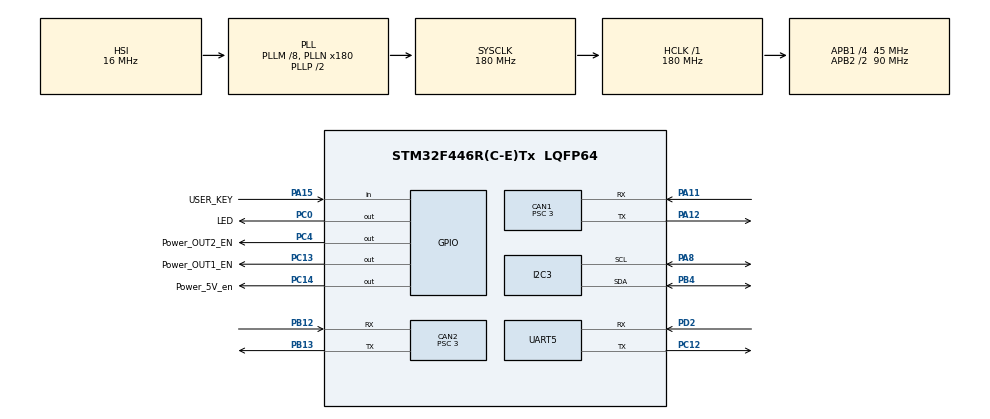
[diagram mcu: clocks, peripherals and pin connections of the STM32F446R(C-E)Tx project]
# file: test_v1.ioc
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CAN1.ABOM=ENABLE
CAN1.BS1=CAN_BS1_13TQ
CAN1.CalculateBaudRate=1000000
CAN1.CalculateTimeBit=1000
CAN1.CalculateTimeQuantum=66.66666666666666
CAN1.Prescaler=3
CAN2.ABOM=ENABLE
CAN2.BS1=CAN_BS1_13TQ
CAN2.CalculateBaudRate=1000000
CAN2.CalculateTimeBit=1000
CAN2.CalculateTimeQuantum=66.66666666666666
CAN2.Prescaler=3
Mcu.Family=STM32F4
Mcu.Name=STM32F446R(C-E)Tx
Mcu.Package=LQFP64
NVIC.PriorityGroup=NVIC_PRIORITYGROUP_4
NVIC.TIM2_IRQn=true\:0\:0\:false\:false\:true\:true\:true\:true
PA11.Mode=CAN_Activate
PA11.Signal=CAN1_RX
PA12.Mode=CAN_Activate
PA12.Signal=CAN1_TX
PA13.Mode=Serial_Wire
PA13.Signal=SYS_JTMS-SWDIO
PA14.Mode=Serial_Wire
PA14.Signal=SYS_JTCK-SWCLK
PA15.GPIO_Label=USER_KEY
PA15.Signal=GPIO_Input
PA8.Mode=I2C
PA8.Signal=I2C3_SCL
PB12.Mode=CAN_Activate
PB12.Signal=CAN2_RX
PB13.Mode=CAN_Activate
PB13.Signal=CAN2_TX
PB4.Mode=I2C
PB4.Signal=I2C3_SDA
PC0.GPIO_Label=LED
PC0.Signal=GPIO_Output
PC12.Mode=Asynchronous
PC12.Signal=UART5_TX
PC13.GPIO_Label=Power_OUT1_EN
PC13.Signal=GPIO_Output
PC14-OSC32_IN.GPIO_Label=Power_5V_en
PC14-OSC32_IN.Signal=GPIO_Output
PC4.GPIO_Label=Power_OUT2_EN
PC4.Signal=GPIO_Output
PD2.Mode=Asynchronous
PD2.Signal=UART5_RX
PH0-OSC_IN.Mode=HSE-External-Oscillator
PH0-OSC_IN.Signal=RCC_OSC_IN
PH1-OSC_OUT.Mode=HSE-External-Oscillator
PH1-OSC_OUT.Signal=RCC_OSC_OUT
ProjectManager.HeapSize=0x200
ProjectManager.StackSize=0x400
ProjectManager.TargetToolchain=MDK-ARM V5.27
RCC.AHBFreq_Value=180000000
RCC.APB1CLKDivider=RCC_HCLK_DIV4
RCC.APB1Freq_Value=45000000
RCC.APB1TimFreq_Value=90000000
RCC.APB2CLKDivider=RCC_HCLK_DIV2
RCC.APB2Freq_Value=90000000
RCC.APB2TimFreq_Value=180000000
RCC.CortexFreq_Value=180000000
RCC.HCLKFreq_Value=180000000
RCC.HSE_VALUE=12000000
RCC.PLLM=8
RCC.PLLN=180
RCC.RCC_TIM_PRescaler_Selection=RCC_TIMPRES_DESACTIVATED
RCC.SYSCLKFreq_VALUE=180000000
RCC.SYSCLKSource=RCC_SYSCLKSOURCE_PLLCLK
RCC.USBFreq_Value=180000000
RCC.VCOOutputFreq_Value=360000000
TIM2.Period=19
TIM2.Prescaler=7199
UART5.VirtualMode=Asynchronous
VP_TIM2_VS_ClockSourceINT.Mode=Internal
board=custom

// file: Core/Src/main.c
/* USER CODE BEGIN Header */
/**
  ******************************************************************************
  * @file           : main.c
  * @brief          : Main program body
  ******************************************************************************
  * @attention
  *
  * Copyright (c) 2024 STMicroelectronics.
  * All rights reserved.
  *
  * This software is licensed under terms that can be found in the LICENSE file
  * in the root directory of this software component.
  * If no LICENSE file comes with this software, it is provided AS-IS.
  *
  ******************************************************************************
  */
/* USER CODE END Header */
#include "main.h"
#include "can.h"
#include "i2c.h"
#include "tim.h"
#include "usart.h"
#include "gpio.h"

/* USER CODE BEGIN PV */

MI_Motor_t* hmotor;
CAN_HandleTypeDef* phcan;
uint8_t id;
float torque,MechPosition,speed,kp,kd;
/* USER CODE END PV */

void SystemClock_Config(void);

int main(void)
{

  /* MCU Configuration--------------------------------------------------------*/

  /* Reset of all peripherals, Initializes the Flash interface and the Systick. */
  HAL_Init();

  /* Configure the system clock */
  SystemClock_Config();

  /* Initialize all configured peripherals */
  MX_GPIO_Init();
  MX_TIM2_Init();
  MX_CAN1_Init();
  MX_CAN2_Init();
  MX_I2C3_Init();
  MX_UART5_Init();
  /* USER CODE BEGIN 2 */

	MI_motor_init(hmotor,phcan);
	MI_motor_get_ID(hmotor);
	MI_motor_enable(hmotor,id);
	torque = 1;
	MechPosition = 0;
	speed = 5;
	kp = 1;
	kd = 1;
	MI_motor_controlmode(hmotor, torque, MechPosition , speed , kp , kd);
	torque = 1;
	MechPosition = 2;
	speed = 5;
	kp = 250;
	kd = 1;
	MI_motor_controlmode(hmotor, torque, MechPosition , speed , kp , kd);
  /* USER CODE END 2 */

  /* Infinite loop */
  while (1)
  {

  }
}

void SystemClock_Config(void)
{
  RCC_OscInitTypeDef RCC_OscInitStruct = {0};
  RCC_ClkInitTypeDef RCC_ClkInitStruct = {0};

  /** Configure the main internal regulator output voltage
  */
  __HAL_RCC_PWR_CLK_ENABLE();
  __HAL_PWR_VOLTAGESCALING_CONFIG(PWR_REGULATOR_VOLTAGE_SCALE1);

  /** Initializes the RCC Oscillators according to the specified parameters
  * in the RCC_OscInitTypeDef structure.
  */
  RCC_OscInitStruct.OscillatorType = RCC_OSCILLATORTYPE_HSI;
  RCC_OscInitStruct.HSIState = RCC_HSI_ON;
  RCC_OscInitStruct.HSICalibrationValue = RCC_HSICALIBRATION_DEFAULT;
  RCC_OscInitStruct.PLL.PLLState = RCC_PLL_ON;
  RCC_OscInitStruct.PLL.PLLSource = RCC_PLLSOURCE_HSI;
  RCC_OscInitStruct.PLL.PLLM = 8;
  RCC_OscInitStruct.PLL.PLLN = 180;
  RCC_OscInitStruct.PLL.PLLP = RCC_PLLP_DIV2;
  RCC_OscInitStruct.PLL.PLLQ = 2;
  RCC_OscInitStruct.PLL.PLLR = 2;
  if (HAL_RCC_OscConfig(&RCC_OscInitStruct) != HAL_OK)
  {
    Error_Handler();
  }

  /** Activate the Over-Drive mode
  */
  if (HAL_PWREx_EnableOverDrive() != HAL_OK)
  {
    Error_Handler();
  }

  /** Initializes the CPU, AHB and APB buses clocks
  */
  RCC_ClkInitStruct.ClockType = RCC_CLOCKTYPE_HCLK|RCC_CLOCKTYPE_SYSCLK
                              |RCC_CLOCKTYPE_PCLK1|RCC_CLOCKTYPE_PCLK2;
  RCC_ClkInitStruct.SYSCLKSource = RCC_SYSCLKSOURCE_PLLCLK;
  RCC_ClkInitStruct.AHBCLKDivider = RCC_SYSCLK_DIV1;
  RCC_ClkInitStruct.APB1CLKDivider = RCC_HCLK_DIV4;
  RCC_ClkInitStruct.APB2CLKDivider = RCC_HCLK_DIV2;

  if (HAL_RCC_ClockConfig(&RCC_ClkInitStruct, FLASH_LATENCY_5) != HAL_OK)
  {
    Error_Handler();
  }
}

void Error_Handler(void)
{
  __disable_irq();
  while (1)
  {
  }
}
